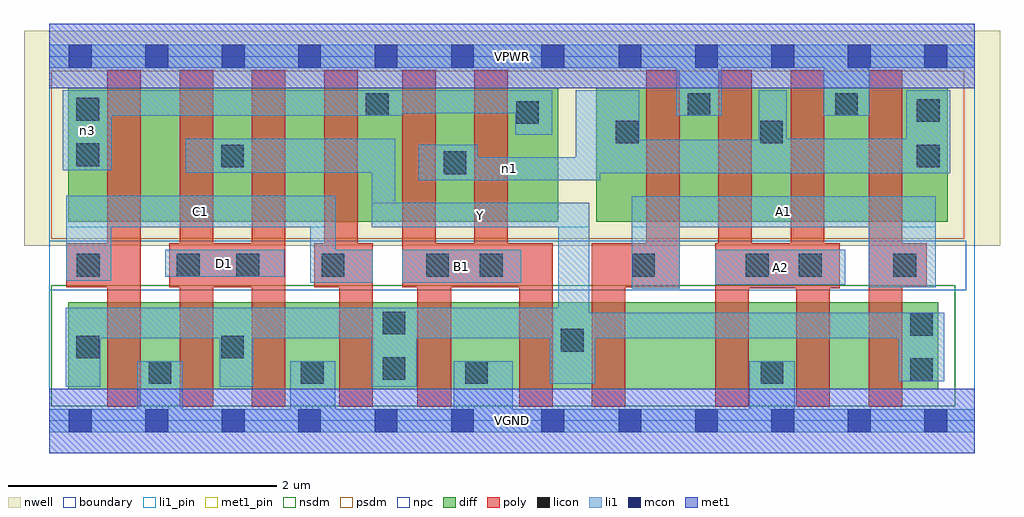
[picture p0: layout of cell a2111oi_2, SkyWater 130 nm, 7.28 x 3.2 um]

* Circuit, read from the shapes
.subckt a2111oi_2 A1 A2 B1 C1 D1 VGND VPWR Y n1 n3
XM1 VGND C1 Y VSUBS sky130_fd_pr__nfet_01v8 w=0.65 l=0.25 m=2
XM2 Y D1 VGND VSUBS sky130_fd_pr__nfet_01v8 w=0.65 l=0.25 m=2
XM3 VGND B1 Y VSUBS sky130_fd_pr__nfet_01v8 w=0.65 l=0.25 m=2
XM4 n2 A1 Y VSUBS sky130_fd_pr__nfet_01v8 w=0.65 l=0.25
XM5 VGND A2 n2 VSUBS sky130_fd_pr__nfet_01v8 w=0.65 l=0.25
XM6 n4 A2 VGND VSUBS sky130_fd_pr__nfet_01v8 w=0.65 l=0.25
XM7 Y A1 n4 VSUBS sky130_fd_pr__nfet_01v8 w=0.65 l=0.25
XM8 n5 C1 n3 n6 sky130_fd_pr__pfet_01v8 w=1 l=0.25
XM9 Y D1 n5 n6 sky130_fd_pr__pfet_01v8 w=1 l=0.25
XM10 n7 D1 Y n6 sky130_fd_pr__pfet_01v8 w=1 l=0.25
XM11 n3 C1 n7 n6 sky130_fd_pr__pfet_01v8 w=1 l=0.25
XM12 n1 B1 n3 n6 sky130_fd_pr__pfet_01v8 w=1 l=0.25 m=2
XM13 VPWR A1 n1 n6 sky130_fd_pr__pfet_01v8 w=1 l=0.25 m=2
XM14 n1 A2 VPWR n6 sky130_fd_pr__pfet_01v8 w=1 l=0.25 m=2
.ends

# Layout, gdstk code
import gdstk
lib = gdstk.Library(unit=1e-6, precision=1e-09)
def R(c, l, rs):  # rectangles x0, y0, x1, y1
    for r in rs: c.add(gdstk.rectangle(r[:2], r[2:], *l))
def A(c, l, x, y, w, h, nx, ny, dx, dy):  # array of equal rectangles
    R(c, l, [(x+i*dx, y+j*dy, x+i*dx+w, y+j*dy+h) for i in range(nx) for j in range(ny)])
nwell = (64, 20)
diff = (65, 20)
poly = (66, 20)
licon = (66, 44)
li1_pin = (67, 16)
li1 = (67, 20)
mcon = (67, 44)
met1_pin = (68, 16)
met1 = (68, 20)
nsdm = (93, 44)
psdm = (94, 20)
npc = (95, 20)
boundary = (235, 4)

a2111oi_2 = lib.new_cell('a2111oi_2')
R(a2111oi_2, nwell, [(-0.19,1.305,7.09,2.91), (0,1.305,6.9,2.91)])
R(a2111oi_2, diff, [(0.14,0.235,6.63,0.885), (0.14,1.485,3.795,2.485), (4.08,1.485,6.7,2.485)])
A(a2111oi_2, poly, 0.43, 0.105, 0.25, 2.51, 3, 1, 0.54, 0)
R(a2111oi_2, poly, [(2.16,0.105,2.41,1.325), (2.745,0.105,2.995,1.325), (3.505,0.105,3.755,1.325), (4.045,0.105,4.295,1.325), (4.965,0.105,5.215,1.325), (5.57,0.105,5.82,1.325), (6.11,0.105,6.36,2.615), (4.965,0.99,5.895,1.325), (4.99,0.99,5.24,2.615), (5.53,0.99,5.78,2.615), (0.125,0.995,0.68,1.325), (0.895,0.995,1.76,1.325), (1.975,0.995,2.41,1.325), (2.05,0.995,2.3,2.615), (2.63,0.995,2.88,2.615), (2.63,0.995,3.755,1.325), (3.17,0.995,3.42,2.615), (4.045,0.995,4.7,1.325), (4.45,0.995,4.7,2.615), (6.11,0.995,6.545,1.325)])
R(a2111oi_2, licon, [(0.74,0.275,0.91,0.445), (1.875,0.275,2.045,0.445), (3.1,0.275,3.27,0.445), (5.305,0.275,5.475,0.445), (6.42,0.295,6.59,0.465), (2.485,0.305,2.655,0.475), (0.2,0.465,0.37,0.635), (1.28,0.465,1.45,0.635), (3.815,0.515,3.985,0.685), (6.42,0.635,6.59,0.805), (2.485,0.645,2.655,0.815), (0.205,1.075,0.375,1.245), (0.95,1.075,1.12,1.245), (1.395,1.075,1.565,1.245), (2.03,1.075,2.2,1.245), (2.81,1.075,2.98,1.245), (3.21,1.075,3.38,1.245), (4.345,1.075,4.515,1.245), (5.195,1.075,5.365,1.245), (5.59,1.075,5.76,1.245), (6.295,1.075,6.465,1.245), (2.94,1.84,3.11,2.01), (1.28,1.89,1.45,2.06), (6.47,1.89,6.64,2.06), (0.2,1.9,0.37,2.07), (4.225,2.07,4.395,2.24), (5.3,2.07,5.47,2.24), (3.48,2.215,3.65,2.385), (6.47,2.23,6.64,2.4), (0.2,2.24,0.37,2.41), (2.36,2.275,2.53,2.445), (4.76,2.275,4.93,2.445), (5.86,2.275,6.03,2.445)])
R(a2111oi_2, li1_pin, [(4.965,1.015,5.935,1.275), (2.63,1.03,3.52,1.275), (0.865,1.075,1.75,1.275), (0.125,1.445,2.135,1.68), (2.405,1.445,4.025,1.625), (4.345,1.445,6.61,1.675)])
R(a2111oi_2, li1, [(0,-0.085,6.9,0.085), (0.655,-0.085,0.995,0.445), (1.795,-0.085,2.13,0.445), (3.015,-0.085,3.455,0.445), (5.22,-0.085,5.56,0.445), (0.12,0.255,0.38,0.845), (1.27,0.255,1.52,0.845), (2.4,0.255,2.74,0.845), (3.73,0.275,4.07,0.805), (3.795,0.275,4.025,1.625), (6.335,0.295,6.675,0.805), (0.12,0.615,6.675,0.805), (0.12,0.615,4.025,0.845), (4.345,0.985,4.7,1.675), (6.11,0.995,6.61,1.675), (4.965,1.015,5.935,1.275), (1.945,1.03,2.41,1.275), (1.945,1.03,2.135,1.68), (2.63,1.03,3.52,1.275), (0.125,1.045,0.46,1.68), (0.865,1.075,1.75,1.275), (0.125,1.445,2.135,1.68), (2.405,1.445,4.025,1.625), (2.405,1.445,2.58,2.105), (4.345,1.445,6.61,1.675), (2.755,1.795,4.11,1.965), (2.755,1.795,3.195,2.06), (3.925,1.845,6.72,2.095), (3.925,1.845,4.4,2.465), (5.29,1.845,5.5,2.465), (5.29,1.845,6.72,2.105), (6.39,1.845,6.72,2.465), (1.015,1.85,2.58,2.105), (0.1,1.87,0.465,2.465), (3.475,2.135,3.75,2.465), (0.1,2.275,2.63,2.465), (4.675,2.275,5.015,2.805), (5.775,2.275,6.115,2.805), (0.1,2.295,3.75,2.465), (0,2.635,6.9,2.805)])
A(a2111oi_2, mcon, 0.145, -0.085, 0.17, 0.17, 6, 2, 0.57, 2.72)
A(a2111oi_2, mcon, 4.245, -0.085, 0.17, 0.17, 5, 2, 0.57, 2.72)
R(a2111oi_2, mcon, [(3.67,-0.085,3.84,0.085), (3.67,2.635,3.84,2.805)])
R(a2111oi_2, met1_pin, [(0,-0.24,6.9,0.24), (0,2.48,6.9,2.96)])
R(a2111oi_2, met1, [(0,-0.24,6.9,0.24), (0,2.48,6.9,2.96)])
R(a2111oi_2, nsdm, [(0.015,0.11,6.755,1.01)])
R(a2111oi_2, psdm, [(0.015,1.36,6.825,2.61)])
R(a2111oi_2, npc, [(0,0.975,6.84,1.345)])
R(a2111oi_2, boundary, [(0,0,6.9,2.72)])
a2111oi_2.add(gdstk.Label('A1', (5.477,1.56), layer=67, texttype=5))
a2111oi_2.add(gdstk.Label('A2', (5.45,1.145), layer=67, texttype=5))
a2111oi_2.add(gdstk.Label('B1', (3.075,1.152), layer=67, texttype=5))
a2111oi_2.add(gdstk.Label('C1', (1.13,1.562), layer=67, texttype=5))
a2111oi_2.add(gdstk.Label('D1', (1.307,1.175), layer=67, texttype=5))
a2111oi_2.add(gdstk.Label('Y', (3.215,1.535), layer=67, texttype=5))
a2111oi_2.add(gdstk.Label('n3', (0.282,2.167), layer=67, texttype=5))
a2111oi_2.add(gdstk.Label('n1', (3.432,1.88), layer=67, texttype=5))
a2111oi_2.add(gdstk.Label('VPWR', (3.45,2.72), layer=68, texttype=5))
a2111oi_2.add(gdstk.Label('VGND', (3.45,0), layer=68, texttype=5))
a2111oi_2.add(gdstk.Label('A1', (5.477,1.56), layer=67, texttype=16))
a2111oi_2.add(gdstk.Label('A2', (5.45,1.145), layer=67, texttype=16))
a2111oi_2.add(gdstk.Label('B1', (3.075,1.152), layer=67, texttype=16))
a2111oi_2.add(gdstk.Label('C1', (1.13,1.562), layer=67, texttype=16))
a2111oi_2.add(gdstk.Label('D1', (1.307,1.175), layer=67, texttype=16))
a2111oi_2.add(gdstk.Label('Y', (3.215,1.535), layer=67, texttype=16))
a2111oi_2.add(gdstk.Label('VPWR', (3.45,2.72), layer=68, texttype=16))
a2111oi_2.add(gdstk.Label('VGND', (3.45,0), layer=68, texttype=16))

lib.write_gds('a2111oi_2.gds')
